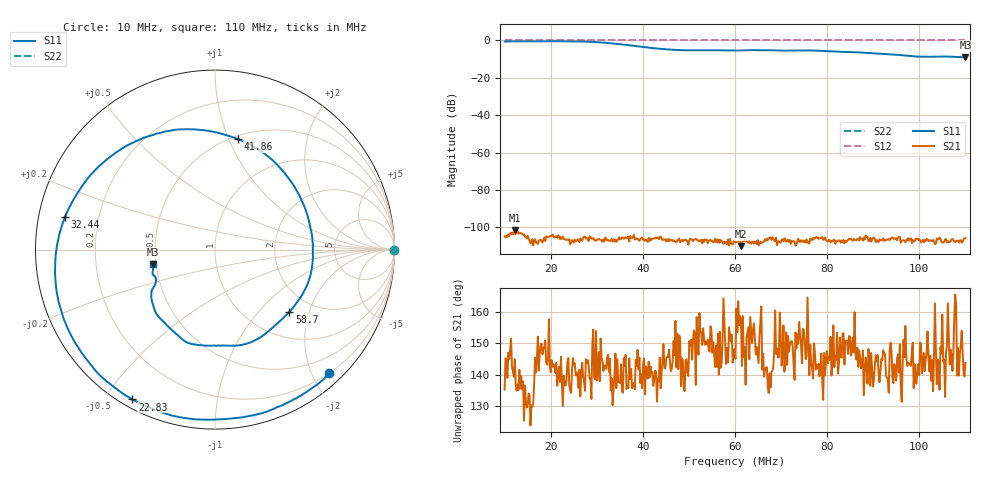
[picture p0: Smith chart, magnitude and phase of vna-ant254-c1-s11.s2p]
! Anritsu VNA Master:  Model: MS2034B/10/19/501
! SN:  1337062
! /bd0/ovro-jan-2016/vna-jan/vna-ant254-c1-s11.s2p
! Existing Calibration Information:
! TYPE:  Current Settings,  Active Cal Settings
! TIME:  01/13/2016 05:30:13 PM,  01/13/2016 05:04:46 PM
! INTERNAL TEMP:  40.5 C,  41.8 C
! # POINTS:  500,  500
! START FREQ:  10.000 MHz,  10.000 MHz
! STOP FREQ:  110.000 MHz,  110.000 MHz
! SOURCE POWER:  High,  High
! IFBW:  100 Hz,  100 Hz
! AVG FACTOR:  4 ,  4
! REF PLANE 1:  0 mm,  0 mm
! REF PLANE 2:  0 mm,  0 mm
! CAL TYPE:  Full S11,  Full S11
! CAL METHOD:  SOLT,  SOLT
! CAL LINE TYPE:  Coax,  Coax
! DUT PORT 1:  K-Conn(M),  K-Conn(M)
! DUT PORT 2:  N-Conn(M),  N-Conn(M)
! CAL STATUS:  OK: Accuracy High,  --
# GHZ S DB R 50.0
! FREQ.GHZ  S11DB  S11A  S21DB  S21A  S12DB  S12A  S22DB  S22A
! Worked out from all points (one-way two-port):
!   500 points, 10 MHz to 110 MHz, reference 50 ohm
!   highest |S21| = -101.32 dB at 12.2 MHz (marker M1); lowest = -110.0 dB at 61.3 MHz (marker M2)
!   lowest |S11| = -9.0 dB at 110 MHz (marker M3), VSWR 2.09, Z = 24.1 - j4.46 ohm
!   |S11| at or under -10 dB: nowhere
!   |S22| runs from 0.0 to 0.0 dB; largest |S21 - S12| = 1
!   S11 on the Smith chart (normalised r, x): 10 MHz: 0.20, -2.27; 22.83 MHz: 0.03, -0.59; 32.44 MHz: 0.08, +0.11; 41.86 MHz: 0.53, +1.08; 58.7 MHz: 1.53, -1.50; 110 MHz: 0.48, -0.09
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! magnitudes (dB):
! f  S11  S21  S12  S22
! 10 MHz  -0.6  -104.7  0.0  0.0
! 12.2 MHz  -0.5  -101.3  0.0  0.0
! 22.83 MHz  -0.4  -106.1  0.0  0.0
! 26.83 MHz  -0.6  -107.2  0.0  0.0
! 29.64 MHz  -0.8  -107.0  0.0  0.0
! 32.44 MHz  -1.4  -106.6  0.0  0.0
! 41.86 MHz  -4.0  -106.6  0.0  0.0
! 43.47 MHz  -4.4  -106.2  0.0  0.0
! 45.87 MHz  -4.9  -107.1  0.0  0.0
! 49.28 MHz  -5.3  -106.5  0.0  0.0
! 58.7 MHz  -5.3  -109.8  0.0  0.0
! 60.1 MHz  -5.4  -107.9  0.0  0.0
! 61.3 MHz  -5.3  -110.0  0.0  0.0
! 65.31 MHz  -5.1  -108.3  0.0  0.0
! 70.32 MHz  -5.4  -106.5  0.0  0.0
! 76.73 MHz  -5.4  -106.7  0.0  0.0
! 86.75 MHz  -6.4  -106.5  0.0  0.0
! 93.37 MHz  -7.4  -106.2  0.0  0.0
! 99.78 MHz  -8.6  -106.7  0.0  0.0
! 101.8 MHz  -8.7  -106.4  0.0  0.0
! 105.6 MHz  -8.6  -106.4  0.0  0.0
! 110 MHz  -9.0  -105.6  0.0  0.0
